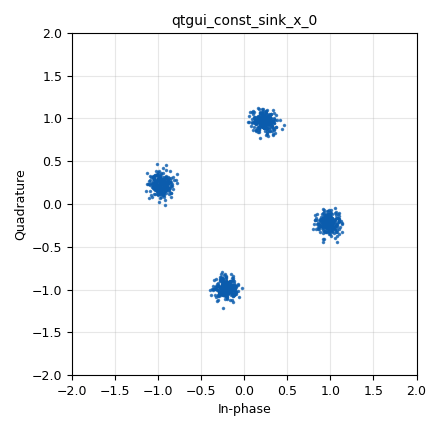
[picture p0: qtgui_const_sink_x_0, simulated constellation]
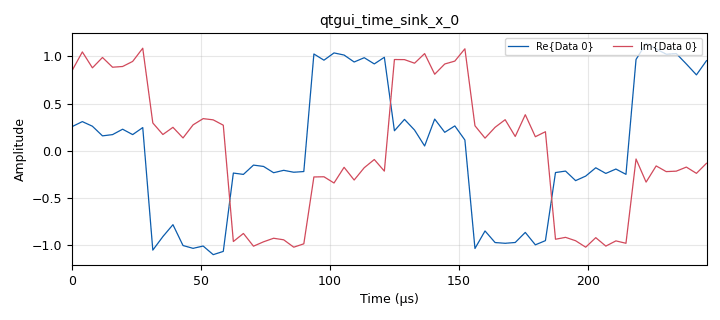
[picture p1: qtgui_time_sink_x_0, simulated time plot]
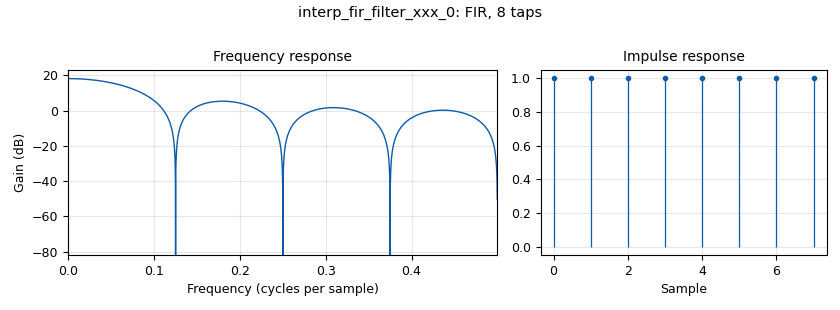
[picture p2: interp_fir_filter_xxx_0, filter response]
options:
  parameters:
    author: nikod
    generate_options: qt_gui
    id: MPSK_Video_2
    output_language: python
    title: Not titled yet
  states: {}

blocks:
- name: M
  id: variable
  parameters:
    value: len(constelacion_Nicolas)
  states: {}
- name: Rb
  id: variable
  parameters:
    value: Rs*bps
  states: {}
- name: Rs
  id: variable
  parameters:
    value: '32000'
  states: {}
- name: Sps
  id: variable
  parameters:
    value: len(h)
  states: {}
- name: bps
  id: variable
  parameters:
    value: math.log(M,2)
  states: {}
- name: constelacion_Jonathan
  id: variable
  parameters:
    value: (0.9397+0.3420j,0.3420+0.9397j,-0.3420+0.9397j,-0.9397+0.3420j,-0.9397-0.3420j,-0.3420-0.9397j,0.3420-0.9397j,0.9397-0.3420j)
  states: {state: disabled}
- name: constelacion_Jonathan
  id: variable
  parameters:
    value: (0.2225+0.9749j,-0.9749+0.2225j,-0.2225-0.9749j,0.9749-0.2225j)
  states: {}
- name: constelacion_Nicolas
  id: variable
  parameters:
    value: ( 0.5000+0.8660j,-0.2588+0.9659j,-0.9659+0.2588j, -1.0000+0.0000j,-0.9659-0.2588j,-0.2588-0.9659j,0.5000-0.8660j,0.9659-0.2588j)
  states: {}
- name: constelacion_Santiago
  id: variable
  parameters:
    value: (0.9397+0.3420j,0.3420+0.9397j,-0.3420+0.9397j, -0.9397+0.3420j,-0.9397-0.3420j,-0.3420-0.9397j,0.3420-0.9397j,0.9397-0.3420j)
  states: {}
- name: h
  id: variable
  parameters:
    value: (1.,1.,1.,1.,1.,1.,1.,1.)
  states: {}
- name: samp_rate
  id: variable
  parameters:
    value: Sps*Rs
  states: {}
- name: tabla_de_verdad_constelacion
  id: variable
  parameters:
    value: (0.77+0.77j,-0.77+0.77j,-0.77-0.77j,0.77-0.77j)
  states: {}
- name: analog_noise_source_x_0
  id: analog_noise_source_x
  parameters:
    amp: '0.1'
    noise_type: analog.GR_GAUSSIAN
    seed: '0'
    type: complex
  states: {}
- name: analog_random_source_x_0
  id: analog_random_source_x
  parameters:
    max: '2'
    min: '0'
    num_samps: '1000'
    repeat: 'True'
    type: byte
  states: {state: disabled}
- name: blocks_add_xx_0
  id: blocks_add_xx
  parameters:
    type: complex
  states: {}
- name: blocks_pack_k_bits_bb_0
  id: blocks_pack_k_bits_bb
  parameters:
    k: '8'
  states: {state: disabled}
- name: blocks_packed_to_unpacked_xx_0
  id: blocks_packed_to_unpacked_xx
  parameters:
    bits_per_chunk: int(bps)
    endianness: gr.GR_MSB_FIRST
    type: byte
  states: {state: disabled}
- name: blocks_vector_source_x_0
  id: blocks_vector_source_x
  parameters:
    repeat: 'True'
    type: int
    vector: (0, 1, 2,3)
  states: {}
- name: digital_chunks_to_symbols_xx_0
  id: digital_chunks_to_symbols_xx
  parameters:
    dimension: '1'
    in_type: int
    out_type: complex
    symbol_table: constelacion_Jonathan
  states: {}
- name: import_0
  id: import
  parameters:
    imports: import math
  states: {}
- name: interp_fir_filter_xxx_0
  id: interp_fir_filter_xxx
  parameters:
    interp: Sps
    taps: h
    type: ccc
  states: {}
- name: qtgui_const_sink_x_0
  id: qtgui_const_sink_x
  parameters:
    size: '1024'
    type: complex
  states: {}
- name: qtgui_freq_sink_x_0
  id: qtgui_freq_sink_x
  parameters:
    bw: samp_rate
    fc: '0'
    fftsize: '1024'
    type: complex
  states: {state: disabled}
- name: qtgui_time_sink_x_0
  id: qtgui_time_sink_x
  parameters:
    autoscale: 'True'
    size: '64'
    srate: samp_rate
    type: complex
  states: {}

connections:
- [analog_noise_source_x_0, '0', blocks_add_xx_0, '1']
- [analog_random_source_x_0, '0', blocks_pack_k_bits_bb_0, '0']
- [blocks_add_xx_0, '0', qtgui_const_sink_x_0, '0']
- [blocks_add_xx_0, '0', qtgui_freq_sink_x_0, '0']
- [blocks_add_xx_0, '0', qtgui_time_sink_x_0, '0']
- [blocks_pack_k_bits_bb_0, '0', blocks_packed_to_unpacked_xx_0, '0']
- [blocks_packed_to_unpacked_xx_0, '0', digital_chunks_to_symbols_xx_0, '0']
- [blocks_vector_source_x_0, '0', digital_chunks_to_symbols_xx_0, '0']
- [digital_chunks_to_symbols_xx_0, '0', interp_fir_filter_xxx_0, '0']
- [interp_fir_filter_xxx_0, '0', blocks_add_xx_0, '0']

metadata:
  file_format: 1
  grc_version: 3.10.10.0
